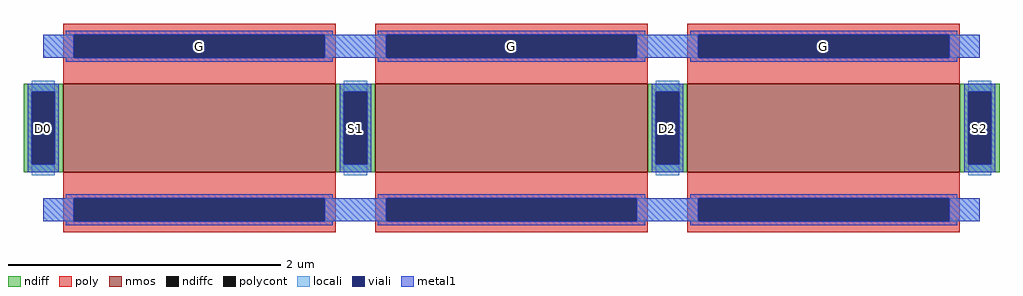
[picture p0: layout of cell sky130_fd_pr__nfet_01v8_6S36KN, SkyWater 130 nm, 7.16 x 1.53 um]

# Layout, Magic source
magic
tech sky130A
magscale 1 2
<< nmos >>
rect -658 -65 -258 65
rect -200 -65 200 65
rect 258 -65 658 65
<< ndiff >>
rect -716 53 -658 65
rect -716 -53 -704 53
rect -670 -53 -658 53
rect -716 -65 -658 -53
rect -258 53 -200 65
rect -258 -53 -246 53
rect -212 -53 -200 53
rect -258 -65 -200 -53
rect 200 53 258 65
rect 200 -53 212 53
rect 246 -53 258 53
rect 200 -65 258 -53
rect 658 53 716 65
rect 658 -53 670 53
rect 704 -53 716 53
rect 658 -65 716 -53
<< ndiffc >>
rect -704 -53 -670 53
rect -246 -53 -212 53
rect 212 -53 246 53
rect 670 -53 704 53
<< poly >>
rect -658 137 -258 153
rect -658 103 -642 137
rect -274 103 -258 137
rect -658 65 -258 103
rect -200 137 200 153
rect -200 103 -184 137
rect 184 103 200 137
rect -200 65 200 103
rect 258 137 658 153
rect 258 103 274 137
rect 642 103 658 137
rect 258 65 658 103
rect -658 -103 -258 -65
rect -658 -137 -642 -103
rect -274 -137 -258 -103
rect -658 -153 -258 -137
rect -200 -103 200 -65
rect -200 -137 -184 -103
rect 184 -137 200 -103
rect -200 -153 200 -137
rect 258 -103 658 -65
rect 258 -137 274 -103
rect 642 -137 658 -103
rect 258 -153 658 -137
<< polycont >>
rect -642 103 -274 137
rect -184 103 184 137
rect 274 103 642 137
rect -642 -137 -274 -103
rect -184 -137 184 -103
rect 274 -137 642 -103
<< locali >>
rect -687 103 -642 137
rect -274 103 -184 137
rect 184 103 274 137
rect 642 103 687 137
rect -704 53 -670 69
rect -704 -69 -670 -53
rect -246 53 -212 69
rect -246 -69 -212 -53
rect 212 53 246 69
rect 212 -69 246 -53
rect 670 53 704 69
rect 670 -69 704 -53
rect -687 -137 -642 -103
rect -274 -137 -184 -103
rect 184 -137 274 -103
rect 642 -137 687 -103
<< viali >>
rect -642 103 -274 137
rect -184 103 184 137
rect 274 103 642 137
rect -704 -53 -670 53
rect -246 -53 -212 53
rect 212 -53 246 53
rect 670 -53 704 53
rect -642 -137 -274 -103
rect -184 -137 184 -103
rect 274 -137 642 -103
<< metal1 >>
rect -654 137 -262 143
rect -196 137 196 143
rect 262 137 654 143
rect -687 103 -642 137
rect -274 103 -184 137
rect 184 103 274 137
rect 642 103 687 137
rect -654 97 -262 103
rect -196 97 196 103
rect 262 97 654 103
rect -710 53 -664 65
rect -710 -53 -704 53
rect -670 -53 -664 53
rect -710 -65 -664 -53
rect -252 53 -206 65
rect -252 -53 -246 53
rect -212 -53 -206 53
rect -252 -65 -206 -53
rect 206 53 252 65
rect 206 -53 212 53
rect 246 -53 252 53
rect 206 -65 252 -53
rect 664 53 710 65
rect 664 -53 670 53
rect 704 -53 710 53
rect 664 -65 710 -53
rect -654 -103 -262 -97
rect -196 -103 196 -97
rect 262 -103 654 -97
rect -687 -137 -642 -103
rect -274 -137 -184 -103
rect 184 -137 274 -103
rect 642 -137 687 -103
rect -654 -143 -262 -137
rect -196 -143 196 -137
rect 262 -143 654 -137
<< labels >>
rlabel ndiffc -687 0 -687 0 0 D0
port 6 nsew
rlabel polycont -458 120 -458 120 0 G
port 2 nsew
rlabel ndiffc -229 0 -229 0 0 S1
port 7 nsew
rlabel polycont 0 120 0 120 0 G
port 2 nsew
rlabel ndiffc 229 0 229 0 0 D2
port 8 nsew
rlabel ndiffc 687 0 687 0 0 S2
port 9 nsew
rlabel polycont 458 120 458 120 0 G
port 2 nsew
<< properties >>
string gencell sky130_fd_pr__nfet_01v8
string library sky130
string parameters w 0.65 l 2 m 1 nf 3 diffcov 100 polycov 100 guard 0 glc 0 grc 0 gtc 0 gbc 0 tbcov 100 rlcov 100 topc 1 botc 0 poverlap 1 doverlap 1 lmin 0.15 wmin 0.42 class mosfet compatible {sky130_fd_pr__nfet_01v8 sky130_fd_pr__nfet_01v8_lvt  sky130_fd_bs_flash__special_sonosfet_star  sky130_fd_pr__nfet_g5v0d10v5 sky130_fd_pr__nfet_05v0_nvt  sky130_fd_pr__nfet_03v3_nvt} full_metal 0 conn_gates 1 viasrc 100 viadrn 100 viagate 100 viagb 0 viagr 0 viagl 0 viagt 0 doports 1
<< end >>
